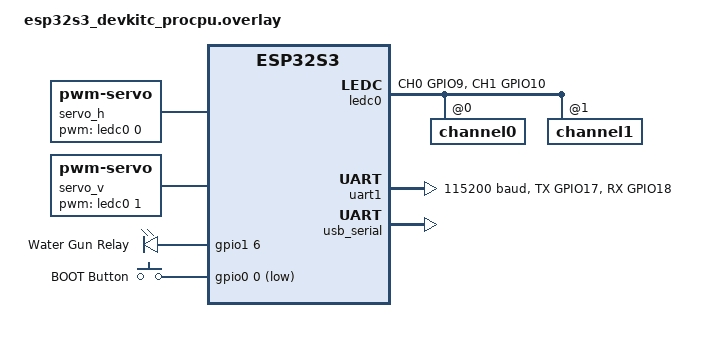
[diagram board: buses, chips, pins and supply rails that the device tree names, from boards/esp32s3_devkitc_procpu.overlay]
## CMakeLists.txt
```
cmake_minimum_required(VERSION 3.20.0)
find_package(Zephyr REQUIRED HINTS $ENV{ZEPHYR_BASE})
project(water_turret)

target_sources(app PRIVATE
    src/main.c
)
```

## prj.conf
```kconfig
# water_turret prj.conf — K210 + ESP32-S3 自动追踪水枪

CONFIG_PRINTK=y
CONFIG_CONSOLE=y
CONFIG_SERIAL=y

CONFIG_LOG=y
CONFIG_LOG_DEFAULT_LEVEL=3

CONFIG_GPIO=y
CONFIG_GPIO_INIT_PRIORITY=40

CONFIG_PWM=y

# ── UART (K210 通信) ──
CONFIG_UART_INTERRUPT_DRIVEN=y

# ── Shell (运行时调参) ──
CONFIG_SHELL=y
CONFIG_SHELL_BACKEND_SERIAL=y

# ── Stack ──
CONFIG_MAIN_STACK_SIZE=4096
```

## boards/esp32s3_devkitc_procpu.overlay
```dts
/* water_turret DTS overlay — ESP32-S3 DevKitC on esp32s3_devkitc/esp32s3/procpu
 *
 * GPIO 分配:
 *   GPIO9  → 水平舵机 PWM (LEDC CH0)
 *   GPIO10 → 垂直舵机 PWM (LEDC CH1)
 *   GPIO38 → 继电器 (水枪触发)
 *   GPIO0  → BOOT 按钮 (手动开火)
 *   GPIO17 → UART1 TX (→ K210 RX, 保留)
 *   GPIO18 → UART1 RX (← K210 TX)
 */

#include <zephyr/dt-bindings/pwm/pwm.h>
#include <zephyr/dt-bindings/gpio/gpio.h>
#include <dt-bindings/pinctrl/esp32s3-pinctrl.h>

/ {
	chosen {
		zephyr,console = &uart0;
		zephyr,shell-uart = &uart0;
	};

	/* ── 舵机节点 ── */
	servo_h: servo_h {
		compatible = "pwm-servo";
		pwms = <&ledc0 0 PWM_MSEC(20) PWM_POLARITY_NORMAL>;
		min-pulse = <PWM_USEC(500)>;
		max-pulse = <PWM_USEC(2500)>;
	};

	servo_v: servo_v {
		compatible = "pwm-servo";
		pwms = <&ledc0 1 PWM_MSEC(20) PWM_POLARITY_NORMAL>;
		min-pulse = <PWM_USEC(500)>;
		max-pulse = <PWM_USEC(2500)>;
	};

	/* ── 继电器（水枪触发） ── */
	relays {
		compatible = "gpio-leds";
		relay0: relay0 {
			gpios = <&gpio1 6 GPIO_ACTIVE_HIGH>; /* GPIO38 */
			label = "Water Gun Relay";
		};
	};

	/* ── 按钮 ── */
	buttons {
		compatible = "gpio-keys";
		boot_button: boot_button {
			gpios = <&gpio0 0 (GPIO_PULL_UP | GPIO_ACTIVE_LOW)>;
			label = "BOOT Button";
		};
	};

	aliases {
		sw0 = &boot_button;
		relay-fire = &relay0;
		servo-h = &servo_h;
		servo-v = &servo_v;
		k210-uart = &uart1;
	};
};

/* ── LEDC PWM pinctrl ── */
&pinctrl {
	ledc0_default: ledc0_default {
		group1 {
			pinmux = <LEDC_CH0_GPIO9>,
				 <LEDC_CH1_GPIO10>;
			output-enable;
		};
	};

	uart1_default: uart1_default {
		group1 {
			pinmux = <UART1_TX_GPIO17>;
			output-enable;
		};
		group2 {
			pinmux = <UART1_RX_GPIO18>;
			bias-pull-up;
		};
	};
};

&ledc0 {
	pinctrl-0 = <&ledc0_default>;
	pinctrl-names = "default";
	status = "okay";
	#address-cells = <1>;
	#size-cells = <0>;

	channel0@0 {
		reg = <0x0>;
		timer = <0>;
	};

	channel1@1 {
		reg = <0x1>;
		timer = <0>;
	};
};

&uart1 {
	status = "okay";
	current-speed = <115200>;
	pinctrl-0 = <&uart1_default>;
	pinctrl-names = "default";
};

&usb_serial {
	status = "okay";
};
```

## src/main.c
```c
/* water_turret — 自动追踪水枪炮台主程序
 *
 * 架构: K210 (MaixPy 色块追踪) → UART → ESP32-S3 (PID 舵机控制 + 继电器)
 *
 * UART 协议:
 *   K210 → ESP32: "T,cx,cy,w,h\n" (有目标) / "N\n" (无目标)
 *   帧坐标系: 320×240 (QVGA), 中心 (160,120)
 */

#include <zephyr/kernel.h>
#include <zephyr/drivers/pwm.h>
#include <zephyr/drivers/gpio.h>
#include <zephyr/drivers/uart.h>
#include <zephyr/logging/log.h>
#include <zephyr/shell/shell.h>
#include <stdlib.h>
#include <string.h>

LOG_MODULE_REGISTER(water_turret, LOG_LEVEL_INF);

/* ── 帧参数 ── */
#define FRAME_W  320
#define FRAME_H  240
#define CENTER_X (FRAME_W / 2)
#define CENTER_Y (FRAME_H / 2)

/* ── 运行时可调参数 ── */
static struct {
	int32_t h_center;       /* μs - 水平中点 */
	int32_t v_center;       /* μs - 垂直中点 */
	int32_t slew_rate;      /* μs/cycle - 最大脉宽变化速率 */
	int32_t interval_ms;    /* ms - 控制循环周期 */
	int32_t ema_num;        /* EMA 分子 */
	int32_t ema_den;        /* EMA 分母 */
	int32_t pid_kp;         /* ×0.01 */
	int32_t pid_ki;         /* ×0.01 */
	int32_t pid_kd;         /* ×0.01 */
	int32_t pid_imax;       /* 积分饱和限制 */
	int32_t fire_cooldown_ms;
	int32_t fire_pulse_ms;
	int32_t deadzone;       /* 像素 - 死区半径 */
	int32_t fire_threshold; /* 像素 - 误差小于此值时自动开火 */
} g_tune = {
	.h_center       = 1500,
	.v_center       = 1500,
	.slew_rate      = 80,
	.interval_ms    = 20,
	.ema_num        = 3,
	.ema_den        = 20,
	.pid_kp         = 40,
	.pid_ki         = 5,
	.pid_kd         = 60,
	.pid_imax       = 3000,
	.fire_cooldown_ms = 1000,
	.fire_pulse_ms  = 200,
	.deadzone       = 10,
	.fire_threshold = 25,
};

/* ── 设备树节点 ── */
static const struct pwm_dt_spec servo_h = PWM_DT_SPEC_GET(DT_ALIAS(servo_h));
static const struct pwm_dt_spec servo_v = PWM_DT_SPEC_GET(DT_ALIAS(servo_v));
static const struct gpio_dt_spec relay = GPIO_DT_SPEC_GET(DT_ALIAS(relay_fire), gpios);
static const struct gpio_dt_spec button = GPIO_DT_SPEC_GET(DT_ALIAS(sw0), gpios);
static const struct device *k210_uart = DEVICE_DT_GET(DT_ALIAS(k210_uart));

/* ── UART 接收缓冲 ── */
#define UART_BUF_SIZE 64
static char uart_buf[UART_BUF_SIZE];
static int uart_buf_pos;

/* ISR → 主循环消息队列 (解决 sscanf 不可在 ISR 调用的问题) */
static K_MSGQ_DEFINE(uart_msgq, UART_BUF_SIZE, 8, 1);

/* ── 追踪目标 (原子更新) ── */
static atomic_t target_cx = ATOMIC_INIT(-1);  /* -1 = 无目标 */
static atomic_t target_cy = ATOMIC_INIT(-1);
static atomic_t target_valid = ATOMIC_INIT(0);

/* ── 状态 ── */
static struct gpio_callback button_cb;
static struct k_work fire_work;
static struct k_timer relay_timer;
static atomic_t relay_active = ATOMIC_INIT(0);
static int64_t last_fire_time;
static atomic_t fire_count = ATOMIC_INIT(0);

/* ── 模式 ── */
enum turret_mode {
	MODE_IDLE = 0,      /* 舵机静止在中点 */
	MODE_TRACKING = 1,  /* 自动追踪 */
};
static volatile enum turret_mode g_mode = MODE_TRACKING;

/* ── 辅助函数 ── */

static inline int32_t clamp_i32(int32_t val, int32_t lo, int32_t hi)
{
	if (val < lo) return lo;
	if (val > hi) return hi;
	return val;
}

static int servo_set_pulse(const struct pwm_dt_spec *spec, uint32_t pulse_ns)
{
	return pwm_set_pulse_dt(spec, pulse_ns);
}

/* ── UART 解析: "T,cx,cy,w,h\n" 或 "N\n" ── */
static void parse_uart_line(const char *line)
{
	if (line[0] == 'T' && line[1] == ',') {
		int cx, cy, w, h;
		int n = sscanf(line + 2, "%d,%d,%d,%d", &cx, &cy, &w, &h);
		if (n >= 2) {
			atomic_set(&target_cx, cx);
			atomic_set(&target_cy, cy);
			atomic_set(&target_valid, 1);
		}
	} else if (line[0] == 'N') {
		atomic_set(&target_valid, 0);
	}
}

/* ── UART 中断接收 (仅缓冲行，不在 ISR 中解析) ── */
static void uart_isr(const struct device *dev, void *user_data)
{
	ARG_UNUSED(user_data);

	if (!uart_irq_update(dev)) {
		return;
	}

	while (uart_irq_rx_ready(dev)) {
		uint8_t c;
		int ret = uart_fifo_read(dev, &c, 1);
		if (ret <= 0) {
			break;
		}

		if (c == '\n' || c == '\r') {
			if (uart_buf_pos > 0) {
				uart_buf[uart_buf_pos] = '\0';
				/* 将完整行送入消息队列，主循环解析 */
				k_msgq_put(&uart_msgq, uart_buf, K_NO_WAIT);
				uart_buf_pos = 0;
			}
		} else {
			if (uart_buf_pos < UART_BUF_SIZE - 1) {
				uart_buf[uart_buf_pos++] = (char)c;
			} else {
				/* 溢出，丢弃本行 */
				uart_buf_pos = 0;
			}
		}
	}
}

/* ── 继电器关闭回调 (timer expiry) ── */
static void relay_timer_expiry(struct k_timer *timer)
{
	ARG_UNUSED(timer);
	gpio_pin_set_dt(&relay, 0);
	atomic_set(&relay_active, 0);
}

/* ── 继电器开火 (非阻塞) ── */
static void fire_once(const char *src)
{
	/* 防止重入: 已在开火中则跳过 */
	if (atomic_get(&relay_active)) {
		return;
	}

	int64_t now = k_uptime_get();
	if ((now - last_fire_time) < g_tune.fire_cooldown_ms) {
		return;
	}

	atomic_set(&relay_active, 1);
	last_fire_time = now;

	int n = atomic_inc(&fire_count) + 1;
	LOG_INF("FIRE #%d (%s)", n, src);
	gpio_pin_set_dt(&relay, 1);
	/* 非阻塞: timer 到期后自动关闭继电器 */
	k_timer_start(&relay_timer, K_MSEC(g_tune.fire_pulse_ms), K_NO_WAIT);
}

static void fire_work_handler(struct k_work *w)
{
	ARG_UNUSED(w);
	fire_once("button");
}

static void button_isr(const struct device *port, struct gpio_callback *cb,
		       gpio_port_pins_t pins)
{
	ARG_UNUSED(port);
	ARG_UNUSED(cb);
	ARG_UNUSED(pins);
	k_work_submit(&fire_work);
}

/* ── Shell 命令 ── */

static int cmd_tune_set(const struct shell *sh, size_t argc, char **argv)
{
	if (argc < 3) {
		shell_print(sh, "Usage: tune set <param> <value>");
		return -EINVAL;
	}

	const char *name = argv[1];
	int32_t val = atoi(argv[2]);

	if (strcmp(name, "h_center") == 0) { g_tune.h_center = val; }
	else if (strcmp(name, "v_center") == 0) { g_tune.v_center = val; }
	else if (strcmp(name, "slew_rate") == 0) { g_tune.slew_rate = val; }
	else if (strcmp(name, "interval") == 0) { g_tune.interval_ms = val; }
	else if (strcmp(name, "ema_num") == 0) { g_tune.ema_num = val; }
	else if (strcmp(name, "ema_den") == 0) { g_tune.ema_den = val; }
	else if (strcmp(name, "pid_kp") == 0) { g_tune.pid_kp = val; }
	else if (strcmp(name, "pid_ki") == 0) { g_tune.pid_ki = val; }
	else if (strcmp(name, "pid_kd") == 0) { g_tune.pid_kd = val; }
	else if (strcmp(name, "pid_imax") == 0) { g_tune.pid_imax = val; }
	else if (strcmp(name, "deadzone") == 0) { g_tune.deadzone = val; }
	else if (strcmp(name, "fire_threshold") == 0) { g_tune.fire_threshold = val; }
	else if (strcmp(name, "fire_cooldown") == 0) { g_tune.fire_cooldown_ms = val; }
	else if (strcmp(name, "fire_pulse") == 0) { g_tune.fire_pulse_ms = val; }
	else {
		shell_error(sh, "Unknown param: %s", name);
		return -EINVAL;
	}

	shell_print(sh, "OK: %s = %d", name, val);
	return 0;
}

static int cmd_tune_show(const struct shell *sh, size_t argc, char **argv)
{
	ARG_UNUSED(argc);
	ARG_UNUSED(argv);

	shell_print(sh, "h_center=%d v_center=%d", g_tune.h_center, g_tune.v_center);
	shell_print(sh, "slew_rate=%d interval=%d", g_tune.slew_rate, g_tune.interval_ms);
	shell_print(sh, "ema=%d/%d", g_tune.ema_num, g_tune.ema_den);
	shell_print(sh, "pid: kp=%d ki=%d kd=%d imax=%d",
		    g_tune.pid_kp, g_tune.pid_ki, g_tune.pid_kd, g_tune.pid_imax);
	shell_print(sh, "deadzone=%d fire_threshold=%d", g_tune.deadzone, g_tune.fire_threshold);
	shell_print(sh, "fire: cooldown=%d pulse=%d", g_tune.fire_cooldown_ms, g_tune.fire_pulse_ms);
	return 0;
}

static int cmd_mode(const struct shell *sh, size_t argc, char **argv)
{
	if (argc < 2) {
		shell_print(sh, "mode: %d (0=idle, 1=track)", g_mode);
		return 0;
	}
	g_mode = atoi(argv[1]);
	shell_print(sh, "mode → %d", g_mode);
	return 0;
}

static int cmd_fire(const struct shell *sh, size_t argc, char **argv)
{
	ARG_UNUSED(argc);
	ARG_UNUSED(argv);
	fire_once("shell");
	shell_print(sh, "fired");
	return 0;
}

static int cmd_center(const struct shell *sh, size_t argc, char **argv)
{
	ARG_UNUSED(argc);
	ARG_UNUSED(argv);
	servo_set_pulse(&servo_h, PWM_USEC(g_tune.h_center));
	servo_set_pulse(&servo_v, PWM_USEC(g_tune.v_center));
	shell_print(sh, "servos → center (%d, %d)", g_tune.h_center, g_tune.v_center);
	return 0;
}

SHELL_STATIC_SUBCMD_SET_CREATE(sub_tune,
	SHELL_CMD(set, NULL, "tune set <param> <val>", cmd_tune_set),
	SHELL_CMD(show, NULL, "Show all params", cmd_tune_show),
	SHELL_SUBCMD_SET_END
);

SHELL_CMD_REGISTER(tune, &sub_tune, "Tune parameters", NULL);
SHELL_CMD_REGISTER(mode, NULL, "Get/set mode (0=idle,1=track)", cmd_mode);
SHELL_CMD_REGISTER(fire, NULL, "Manual fire", cmd_fire);
SHELL_CMD_REGISTER(center, NULL, "Move servos to center", cmd_center);

/* ── 主程序 ── */
int main(void)
{
	int ret;

	LOG_INF("=== Water Turret — K210 + ESP32-S3 ===");

	/* ── UART1 for K210 ── */
	if (!device_is_ready(k210_uart)) {
		LOG_ERR("K210 UART not ready");
		return -ENODEV;
	}
	uart_irq_callback_set(k210_uart, uart_isr);
	uart_irq_rx_enable(k210_uart);
	LOG_INF("K210 UART ready (115200)");

	/* ── 按钮 ── */
	if (!gpio_is_ready_dt(&button)) {
		LOG_ERR("button not ready");
		return -ENODEV;
	}
	gpio_pin_configure_dt(&button, GPIO_INPUT);
	gpio_pin_interrupt_configure_dt(&button, GPIO_INT_EDGE_TO_ACTIVE);
	k_work_init(&fire_work, fire_work_handler);
	gpio_init_callback(&button_cb, button_isr, BIT(button.pin));
	gpio_add_callback(button.port, &button_cb);

	/* ── 继电器 ── */
	if (!gpio_is_ready_dt(&relay)) {
		LOG_ERR("relay not ready");
		return -ENODEV;
	}
	gpio_pin_configure_dt(&relay, GPIO_OUTPUT_INACTIVE);
	k_timer_init(&relay_timer, relay_timer_expiry, NULL);
	LOG_INF("relay ready: GPIO38");

	/* ── 舵机 ── */
	if (!pwm_is_ready_dt(&servo_h)) {
		LOG_ERR("servo_h not ready");
		return -ENODEV;
	}
	if (!pwm_is_ready_dt(&servo_v)) {
		LOG_ERR("servo_v not ready");
		return -ENODEV;
	}
	servo_set_pulse(&servo_h, PWM_USEC(g_tune.h_center));
	servo_set_pulse(&servo_v, PWM_USEC(g_tune.v_center));
	LOG_INF("servos ready: H=%d V=%d (us)", g_tune.h_center, g_tune.v_center);

	LOG_INF("init complete, mode=TRACKING");

	/* ── PID 状态 ── */
	int32_t h_pulse = g_tune.h_center * 1000; /* ns */
	int32_t v_pulse = g_tune.v_center * 1000;
	int32_t ema_cx = CENTER_X;
	int32_t ema_cy = CENTER_Y;
	int32_t integral_h = 0, integral_v = 0;
	int32_t prev_err_h = 0, prev_err_v = 0;
	int32_t no_target_count = 0;

	/* ── 主控制循环 ── */
	while (1) {
		k_msleep(g_tune.interval_ms);

		/* 从消息队列读取 UART 行并解析 (线程安全) */
		char line[UART_BUF_SIZE];
		while (k_msgq_get(&uart_msgq, line, K_NO_WAIT) == 0) {
			parse_uart_line(line);
		}

		if (g_mode == MODE_IDLE) {
			continue;
		}

		/* 读取目标坐标 */
		int valid = atomic_get(&target_valid);
		int32_t cx = atomic_get(&target_cx);
		int32_t cy = atomic_get(&target_cy);

		if (!valid || cx < 0) {
			no_target_count++;
			if (no_target_count > 50) {
				/* 丢失目标超过 1 秒，PID 重置 */
				integral_h = 0;
				integral_v = 0;
				prev_err_h = 0;
				prev_err_v = 0;
			}
			continue;
		}
		no_target_count = 0;

		/* EMA 滤波 */
		ema_cx = (g_tune.ema_num * cx + (g_tune.ema_den - g_tune.ema_num) * ema_cx)
			 / g_tune.ema_den;
		ema_cy = (g_tune.ema_num * cy + (g_tune.ema_den - g_tune.ema_num) * ema_cy)
			 / g_tune.ema_den;

		/* 计算误差 (像素) */
		int32_t err_h = ema_cx - CENTER_X;  /* 正 = 目标在右 */
		int32_t err_v = ema_cy - CENTER_Y;  /* 正 = 目标在下 */

		/* 死区 */
		if (abs(err_h) < g_tune.deadzone) err_h = 0;
		if (abs(err_v) < g_tune.deadzone) err_v = 0;

		/* PID 计算 (× 0.01 精度) */
		integral_h = clamp_i32(integral_h + err_h, -g_tune.pid_imax, g_tune.pid_imax);
		integral_v = clamp_i32(integral_v + err_v, -g_tune.pid_imax, g_tune.pid_imax);

		int32_t delta_h = (g_tune.pid_kp * err_h
				   + g_tune.pid_ki * integral_h
				   + g_tune.pid_kd * (err_h - prev_err_h)) / 100;
		int32_t delta_v = (g_tune.pid_kp * err_v
				   + g_tune.pid_ki * integral_v
				   + g_tune.pid_kd * (err_v - prev_err_v)) / 100;

		prev_err_h = err_h;
		prev_err_v = err_v;

		/* Slew rate 限制 (μs/cycle) */
		delta_h = clamp_i32(delta_h, -g_tune.slew_rate, g_tune.slew_rate);
		delta_v = clamp_i32(delta_v, -g_tune.slew_rate, g_tune.slew_rate);

		/* 更新脉宽 (ns) - 注意: 目标在右 → 舵机需向右转 → 脉宽减小 */
		h_pulse -= delta_h * 1000;
		v_pulse += delta_v * 1000;  /* 目标在下 → 舵机下倾 → 脉宽增大 */

		/* 限幅 */
		h_pulse = clamp_i32(h_pulse, PWM_USEC(500), PWM_USEC(2500));
		v_pulse = clamp_i32(v_pulse, PWM_USEC(500), PWM_USEC(2500));

		/* 输出到舵机 */
		servo_set_pulse(&servo_h, (uint32_t)h_pulse);
		servo_set_pulse(&servo_v, (uint32_t)v_pulse);

		/* 自动开火: 误差足够小时触发 */
		if (abs(err_h) < g_tune.fire_threshold &&
		    abs(err_v) < g_tune.fire_threshold) {
			fire_once("auto");
		}
	}

	return 0;
}
```
